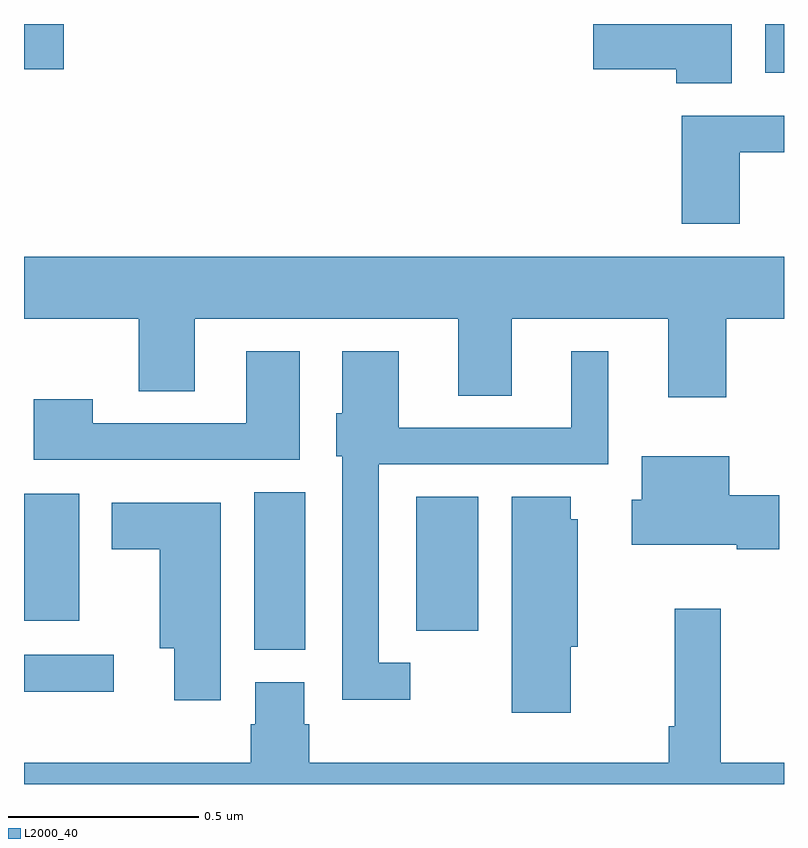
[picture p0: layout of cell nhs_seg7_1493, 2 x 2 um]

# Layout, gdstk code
import gdstk
lib = gdstk.Library(unit=1e-6, precision=1e-09)
def R(c, l, rs):  # rectangles x0, y0, x1, y1
    for r in rs: c.add(gdstk.rectangle(r[:2], r[2:], *l))
def P(c, l, *ps):  # polygons
    for p in ps: c.add(gdstk.Polygon(p, *l))
L2000_40 = (2000, 40)

nhs_seg7_1493 = lib.new_cell('nhs_seg7_1493')
R(nhs_seg7_1493, L2000_40, [(131,1058.243,131.236,1058.34), (131.606,1058.353,131.74,1058.768), (132.032,1058.403,132.196,1058.756), (131,1058.429,131.146,1058.764), (132.95,1059.872,133,1060), (131,1059.881,131.104,1060)])
P(nhs_seg7_1493, L2000_40, [(132.862,1060),(132.498,1060),(132.498,1059.881),(132.716,1059.881),(132.716,1059.844),(132.862,1059.844)],
  [(132.883,1059.663),(133,1059.663),(133,1059.759),(132.731,1059.759),(132.731,1059.474),(132.883,1059.474)],
  [(132.848,1059.224),(133,1059.224),(133,1059.388),(131,1059.388),(131,1059.224),(131.302,1059.224),(131.302,1059.034),(131.449,1059.034),(131.449,1059.224),(132.143,1059.224),(132.143,1059.022),(132.283,1059.022),(132.283,1059.224),(132.695,1059.224),(132.695,1059.018),(132.848,1059.018)],
  [(132.016,1058.319),(131.934,1058.319),(131.934,1058.841),(132.538,1058.841),(132.538,1059.139),(132.44,1059.139),(132.44,1058.937),(131.986,1058.937),(131.986,1059.139),(131.837,1059.139),(131.837,1058.976),(131.822,1058.976),(131.822,1058.862),(131.838,1058.862),(131.838,1058.222),(132.016,1058.222)],
  [(131.725,1059.139),(131.585,1059.139),(131.585,1058.949),(131.181,1058.949),(131.181,1059.013),(131.025,1059.013),(131.025,1058.853),(131.725,1058.853)],
  [(132.988,1058.76),(132.856,1058.76),(132.856,1058.863),(132.626,1058.863),(132.626,1058.748),(132.599,1058.748),(132.599,1058.63),(132.875,1058.63),(132.875,1058.618),(132.988,1058.618)],
  [(132.439,1058.361),(132.457,1058.361),(132.457,1058.697),(132.439,1058.697),(132.439,1058.756),(132.284,1058.756),(132.284,1058.187),(132.439,1058.187)],
  [(131.518,1058.74),(131.231,1058.74),(131.231,1058.618),(131.357,1058.618),(131.357,1058.357),(131.396,1058.357),(131.396,1058.22),(131.518,1058.22)],
  [(132.833,1058.461),(132.712,1058.461),(132.712,1058.152),(132.697,1058.152),(132.697,1058.056),(131.75,1058.056),(131.75,1058.157),(131.737,1058.157),(131.737,1058.268),(131.609,1058.268),(131.609,1058.157),(131.597,1058.157),(131.597,1058.056),(131,1058.056),(131,1058),(133,1058),(133,1058.056),(132.833,1058.056)])

lib.write_gds('nhs_seg7_1493.gds')
